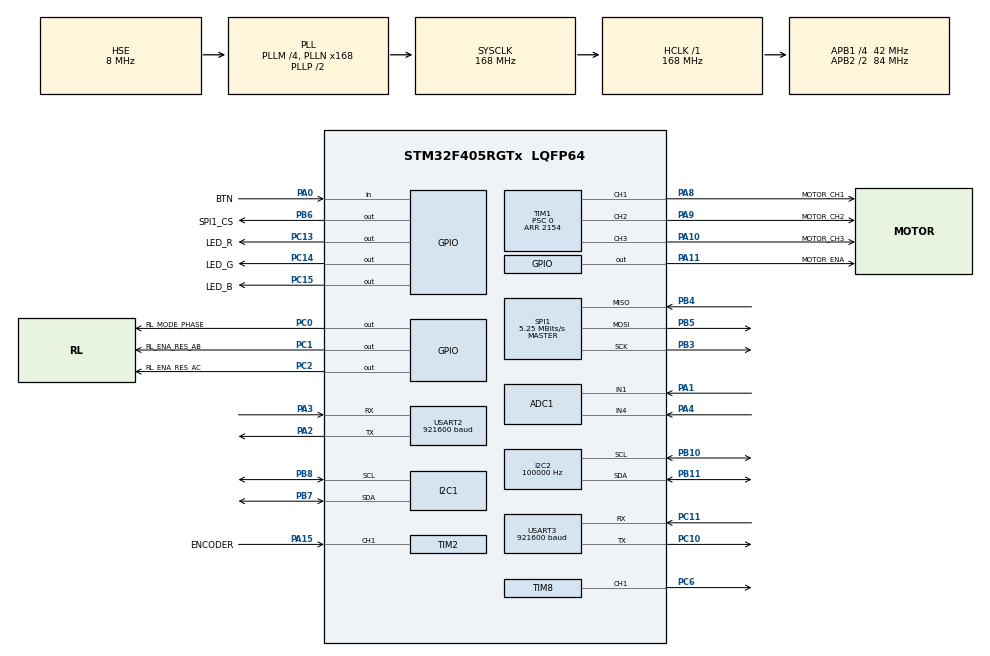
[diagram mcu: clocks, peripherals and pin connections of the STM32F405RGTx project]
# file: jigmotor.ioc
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ADC1.Channel-0\#ChannelRegularConversion=ADC_CHANNEL_1
ADC1.Channel-1\#ChannelRegularConversion=ADC_CHANNEL_4
ADC1.ClockPrescaler=ADC_CLOCK_SYNC_PCLK_DIV4
ADC1.ContinuousConvMode=ENABLE
ADC1.DMAContinuousRequests=ENABLE
ADC1.NbrOfConversion=2
ADC1.NbrOfConversionFlag=1
ADC1.Rank-0\#ChannelRegularConversion=1
ADC1.Rank-1\#ChannelRegularConversion=2
ADC1.SamplingTime-0\#ChannelRegularConversion=ADC_SAMPLETIME_112CYCLES
ADC1.SamplingTime-1\#ChannelRegularConversion=ADC_SAMPLETIME_112CYCLES
ADC1.ScanConvMode=ENABLE
ADC1.master=1
Dma.ADC1.3.Direction=DMA_PERIPH_TO_MEMORY
Dma.ADC1.3.FIFOMode=DMA_FIFOMODE_DISABLE
Dma.ADC1.3.Instance=DMA2_Stream0
Dma.ADC1.3.MemDataAlignment=DMA_MDATAALIGN_HALFWORD
Dma.ADC1.3.MemInc=DMA_MINC_ENABLE
Dma.ADC1.3.Mode=DMA_CIRCULAR
Dma.ADC1.3.PeriphDataAlignment=DMA_PDATAALIGN_HALFWORD
Dma.ADC1.3.PeriphInc=DMA_PINC_DISABLE
Dma.ADC1.3.Priority=DMA_PRIORITY_LOW
Dma.I2C2_TX.0.Direction=DMA_MEMORY_TO_PERIPH
Dma.I2C2_TX.0.FIFOMode=DMA_FIFOMODE_DISABLE
Dma.I2C2_TX.0.Instance=DMA1_Stream7
Dma.I2C2_TX.0.MemDataAlignment=DMA_MDATAALIGN_BYTE
Dma.I2C2_TX.0.MemInc=DMA_MINC_ENABLE
Dma.I2C2_TX.0.Mode=DMA_NORMAL
Dma.I2C2_TX.0.PeriphDataAlignment=DMA_PDATAALIGN_BYTE
Dma.I2C2_TX.0.PeriphInc=DMA_PINC_DISABLE
Dma.I2C2_TX.0.Priority=DMA_PRIORITY_LOW
Dma.Request0=I2C2_TX
Dma.Request1=USART3_TX
Dma.Request2=USART3_RX
Dma.Request3=ADC1
Dma.Request4=USART2_TX
Dma.Request5=USART2_RX
Dma.Request6=SPI1_RX
Dma.Request7=SPI1_TX
Dma.SPI1_RX.6.Direction=DMA_PERIPH_TO_MEMORY
Dma.SPI1_RX.6.FIFOMode=DMA_FIFOMODE_DISABLE
Dma.SPI1_RX.6.Instance=DMA2_Stream2
Dma.SPI1_RX.6.MemDataAlignment=DMA_MDATAALIGN_BYTE
Dma.SPI1_RX.6.MemInc=DMA_MINC_ENABLE
Dma.SPI1_RX.6.Mode=DMA_NORMAL
Dma.SPI1_RX.6.PeriphDataAlignment=DMA_PDATAALIGN_BYTE
Dma.SPI1_RX.6.PeriphInc=DMA_PINC_DISABLE
Dma.SPI1_RX.6.Priority=DMA_PRIORITY_HIGH
Dma.SPI1_TX.7.Direction=DMA_MEMORY_TO_PERIPH
Dma.SPI1_TX.7.FIFOMode=DMA_FIFOMODE_DISABLE
Dma.SPI1_TX.7.Instance=DMA2_Stream3
Dma.SPI1_TX.7.MemDataAlignment=DMA_MDATAALIGN_BYTE
Dma.SPI1_TX.7.MemInc=DMA_MINC_ENABLE
Dma.SPI1_TX.7.Mode=DMA_NORMAL
Dma.SPI1_TX.7.PeriphDataAlignment=DMA_PDATAALIGN_BYTE
Dma.SPI1_TX.7.PeriphInc=DMA_PINC_DISABLE
Dma.SPI1_TX.7.Priority=DMA_PRIORITY_HIGH
Dma.USART2_RX.5.Direction=DMA_PERIPH_TO_MEMORY
Dma.USART2_RX.5.FIFOMode=DMA_FIFOMODE_DISABLE
Dma.USART2_RX.5.Instance=DMA1_Stream5
Dma.USART2_RX.5.MemDataAlignment=DMA_MDATAALIGN_BYTE
Dma.USART2_RX.5.MemInc=DMA_MINC_ENABLE
Dma.USART2_RX.5.Mode=DMA_CIRCULAR
Dma.USART2_RX.5.PeriphDataAlignment=DMA_PDATAALIGN_BYTE
Dma.USART2_RX.5.PeriphInc=DMA_PINC_DISABLE
Dma.USART2_RX.5.Priority=DMA_PRIORITY_LOW
Dma.USART2_TX.4.Direction=DMA_MEMORY_TO_PERIPH
Dma.USART2_TX.4.FIFOMode=DMA_FIFOMODE_DISABLE
Dma.USART2_TX.4.Instance=DMA1_Stream6
Dma.USART2_TX.4.MemDataAlignment=DMA_MDATAALIGN_BYTE
Dma.USART2_TX.4.MemInc=DMA_MINC_ENABLE
Dma.USART2_TX.4.Mode=DMA_NORMAL
Dma.USART2_TX.4.PeriphDataAlignment=DMA_PDATAALIGN_BYTE
Dma.USART2_TX.4.PeriphInc=DMA_PINC_DISABLE
Dma.USART2_TX.4.Priority=DMA_PRIORITY_LOW
Dma.USART3_RX.2.Direction=DMA_PERIPH_TO_MEMORY
Dma.USART3_RX.2.FIFOMode=DMA_FIFOMODE_DISABLE
Dma.USART3_RX.2.Instance=DMA1_Stream1
Dma.USART3_RX.2.MemDataAlignment=DMA_MDATAALIGN_BYTE
Dma.USART3_RX.2.MemInc=DMA_MINC_ENABLE
Dma.USART3_RX.2.Mode=DMA_CIRCULAR
Dma.USART3_RX.2.PeriphDataAlignment=DMA_PDATAALIGN_BYTE
Dma.USART3_RX.2.PeriphInc=DMA_PINC_DISABLE
Dma.USART3_RX.2.Priority=DMA_PRIORITY_LOW
Dma.USART3_TX.1.Direction=DMA_MEMORY_TO_PERIPH
Dma.USART3_TX.1.FIFOMode=DMA_FIFOMODE_DISABLE
Dma.USART3_TX.1.Instance=DMA1_Stream3
Dma.USART3_TX.1.MemDataAlignment=DMA_MDATAALIGN_BYTE
Dma.USART3_TX.1.MemInc=DMA_MINC_ENABLE
Dma.USART3_TX.1.Mode=DMA_NORMAL
Dma.USART3_TX.1.PeriphDataAlignment=DMA_PDATAALIGN_BYTE
Dma.USART3_TX.1.PeriphInc=DMA_PINC_DISABLE
Dma.USART3_TX.1.Priority=DMA_PRIORITY_LOW
FREERTOS.HEAP_NUMBER=4
FREERTOS.Tasks01=defaultTask,24,1024,StartDefaultTask,Default,NULL,Dynamic,NULL,NULL
FREERTOS.configMINIMAL_STACK_SIZE=512
FREERTOS.configTIMER_TASK_STACK_DEPTH=1024
FREERTOS.configTOTAL_HEAP_SIZE=102400
FREERTOS.configUSE_NEWLIB_REENTRANT=1
I2C1.I2C_Mode=I2C_Fast
I2C2.ClockSpeed=100000
I2C2.I2C_Mode=I2C_Standard
Mcu.Family=STM32F4
Mcu.Name=STM32F405RGTx
Mcu.Package=LQFP64
NVIC.ADC_IRQn=true\:5\:0\:false\:false\:true\:true\:true\:true\:true
NVIC.DMA1_Stream1_IRQn=true\:5\:0\:false\:false\:true\:true\:false\:true\:true
NVIC.DMA1_Stream3_IRQn=true\:5\:0\:false\:false\:true\:true\:false\:true\:true
NVIC.DMA1_Stream5_IRQn=true\:5\:0\:false\:false\:true\:true\:false\:true\:true
NVIC.DMA1_Stream6_IRQn=true\:5\:0\:false\:false\:true\:true\:false\:true\:true
NVIC.DMA1_Stream7_IRQn=true\:5\:0\:false\:false\:true\:true\:false\:true\:true
NVIC.DMA2_Stream0_IRQn=true\:5\:0\:false\:false\:true\:true\:false\:true\:true
NVIC.DMA2_Stream2_IRQn=true\:5\:0\:false\:false\:true\:true\:false\:true\:true
NVIC.DMA2_Stream3_IRQn=true\:5\:0\:false\:false\:true\:true\:false\:true\:true
NVIC.I2C2_ER_IRQn=true\:5\:0\:false\:false\:true\:true\:true\:true\:true
NVIC.I2C2_EV_IRQn=true\:5\:0\:false\:false\:true\:true\:true\:true\:true
NVIC.PriorityGroup=NVIC_PRIORITYGROUP_4
NVIC.SPI1_IRQn=true\:5\:0\:false\:false\:true\:true\:true\:true\:true
NVIC.TIM2_IRQn=true\:5\:0\:false\:false\:true\:true\:true\:true\:true
NVIC.TIM8_TRG_COM_TIM14_IRQn=true\:5\:0\:false\:false\:true\:false\:false\:true\:true
NVIC.TimeBase=TIM8_TRG_COM_TIM14_IRQn
NVIC.TimeBaseIP=TIM14
NVIC.USART2_IRQn=true\:5\:0\:false\:false\:true\:true\:true\:true\:true
NVIC.USART3_IRQn=true\:5\:0\:false\:false\:true\:true\:true\:true\:true
PA0-WKUP.GPIO_Label=BTN
PA0-WKUP.GPIO_PuPd=GPIO_PULLUP
PA0-WKUP.Signal=GPIO_Input
PA1.Signal=ADCx_IN1
PA10.GPIO_Label=MOTOR_CH3
PA10.Signal=S_TIM1_CH3
PA11.GPIO_Label=MOTOR_ENA
PA11.Signal=GPIO_Output
PA13.Mode=Serial_Wire
PA13.Signal=SYS_JTMS-SWDIO
PA14.Mode=Serial_Wire
PA14.Signal=SYS_JTCK-SWCLK
PA15.GPIO_Label=ENCODER
PA15.GPIO_PuPd=GPIO_PULLUP
PA15.Signal=S_TIM2_CH1_ETR
PA2.Mode=Asynchronous
PA2.Signal=USART2_TX
PA3.Mode=Asynchronous
PA3.Signal=USART2_RX
PA4.Signal=ADCx_IN4
PA8.GPIO_Label=MOTOR_CH1
PA8.Signal=S_TIM1_CH1
PA9.GPIO_Label=MOTOR_CH2
PA9.Signal=S_TIM1_CH2
PB10.GPIO_Pu=GPIO_PULLUP
PB10.GPIO_Speed=GPIO_SPEED_FREQ_LOW
PB10.Mode=I2C
PB10.Signal=I2C2_SCL
PB11.GPIO_Pu=GPIO_PULLUP
PB11.GPIO_Speed=GPIO_SPEED_FREQ_LOW
PB11.Mode=I2C
PB11.Signal=I2C2_SDA
PB3.GPIO_PuPd=GPIO_PULLUP
PB3.Mode=Full_Duplex_Master
PB3.Signal=SPI1_SCK
PB4.GPIO_PuPd=GPIO_PULLUP
PB4.Mode=Full_Duplex_Master
PB4.Signal=SPI1_MISO
PB5.GPIO_PuPd=GPIO_PULLUP
PB5.Mode=Full_Duplex_Master
PB5.Signal=SPI1_MOSI
PB6.GPIO_Label=SPI1_CS
PB6.Signal=GPIO_Output
PB7.Mode=I2C
PB7.Signal=I2C1_SDA
PB8.Mode=I2C
PB8.Signal=I2C1_SCL
PC0.GPIO_Label=RL_MODE_PHASE
PC0.PinState=GPIO_PIN_RESET
PC0.Signal=GPIO_Output
PC1.GPIO_Label=RL_ENA_RES_AB
PC1.Signal=GPIO_Output
PC10.Mode=Asynchronous
PC10.Signal=USART3_TX
PC11.Mode=Asynchronous
PC11.Signal=USART3_RX
PC13-ANTI_TAMP.GPIO_Label=LED_R
PC13-ANTI_TAMP.PinState=GPIO_PIN_RESET
PC13-ANTI_TAMP.Signal=GPIO_Output
PC14-OSC32_IN.GPIO_Label=LED_G
PC14-OSC32_IN.PinState=GPIO_PIN_RESET
PC14-OSC32_IN.Signal=GPIO_Output
PC15-OSC32_OUT.GPIO_Label=LED_B
PC15-OSC32_OUT.PinState=GPIO_PIN_RESET
PC15-OSC32_OUT.Signal=GPIO_Output
PC2.GPIO_Label=RL_ENA_RES_AC
PC2.Signal=GPIO_Output
PC6.Signal=S_TIM8_CH1
PH0-OSC_IN.Mode=HSE-External-Oscillator
PH0-OSC_IN.Signal=RCC_OSC_IN
PH1-OSC_OUT.Mode=HSE-External-Oscillator
PH1-OSC_OUT.Signal=RCC_OSC_OUT
ProjectManager.HeapSize=0x200
ProjectManager.StackSize=0x400
ProjectManager.TargetToolchain=STM32CubeIDE
RCC.48MHZClocksFreq_Value=84000000
RCC.AHBFreq_Value=168000000
RCC.APB1CLKDivider=RCC_HCLK_DIV4
RCC.APB1Freq_Value=42000000
RCC.APB1TimFreq_Value=84000000
RCC.APB2CLKDivider=RCC_HCLK_DIV2
RCC.APB2Freq_Value=84000000
RCC.APB2TimFreq_Value=168000000
RCC.CortexFreq_Value=168000000
RCC.HCLKFreq_Value=168000000
RCC.HSE_VALUE=8000000
RCC.HSI_VALUE=16000000
RCC.LSE_VALUE=32768
RCC.PLLM=4
RCC.PLLN=168
RCC.PLLSourceVirtual=RCC_PLLSOURCE_HSE
RCC.SYSCLKFreq_VALUE=168000000
RCC.SYSCLKSource=RCC_SYSCLKSOURCE_PLLCLK
RCC.VCOOutputFreq_Value=336000000
SH.ADCx_IN1.0=ADC1_IN1,IN1
SH.ADCx_IN4.0=ADC1_IN4,IN4
SH.S_TIM1_CH1.0=TIM1_CH1,PWM Generation1 CH1
SH.S_TIM1_CH2.0=TIM1_CH2,PWM Generation2 CH2
SH.S_TIM1_CH3.0=TIM1_CH3,PWM Generation3 CH3
SH.S_TIM2_CH1_ETR.0=TIM2_CH1,Input_Capture1_from_TI1
SH.S_TIM8_CH1.0=TIM8_CH1,PWM Generation1 CH1
SPI1.BaudRatePrescaler=SPI_BAUDRATEPRESCALER_16
SPI1.CLKPhase=SPI_PHASE_2EDGE
SPI1.CLKPolarity=SPI_POLARITY_HIGH
SPI1.CalculateBaudRate=5.25 MBits/s
SPI1.Direction=SPI_DIRECTION_2LINES
SPI1.Mode=SPI_MODE_MASTER
SPI1.VirtualType=VM_MASTER
TIM1.Channel-PWM\ Generation1\ CH1=TIM_CHANNEL_1
TIM1.Channel-PWM\ Generation2\ CH2=TIM_CHANNEL_2
TIM1.Channel-PWM\ Generation3\ CH3=TIM_CHANNEL_3
TIM1.OCMode_PWM-PWM\ Generation1\ CH1=TIM_OCMODE_PWM2
TIM1.OCMode_PWM-PWM\ Generation2\ CH2=TIM_OCMODE_PWM2
TIM1.OCMode_PWM-PWM\ Generation3\ CH3=TIM_OCMODE_PWM2
TIM1.Period=2154
TIM1.Prescaler=0
TIM2.Channel-Input_Capture1_from_TI1=TIM_CHANNEL_1
TIM2.Channel-Input_Capture2_from_TI1_63=TIM_CHANNEL_2
TIM2.ICFilter_CH1=0
TIM2.ICPolarity_CH1=TIM_INPUTCHANNELPOLARITY_RISING
TIM2.ICPolarity_CH2=TIM_INPUTCHANNELPOLARITY_FALLING
TIM2.Period=0xFFFFFFFF
TIM8.Channel-PWM\ Generation1\ CH1=TIM_CHANNEL_1
TIM8.Period=999
TIM8.Prescaler=83
USART2.BaudRate=921600
USART2.VirtualMode=VM_ASYNC
USART3.BaudRate=921600
USART3.VirtualMode=VM_ASYNC
VP_FREERTOS_VS_CMSIS_V2.Mode=CMSIS_V2
VP_SYS_VS_tim14.Mode=TIM14
VP_TIM1_VS_ClockSourceINT.Mode=Internal
VP_TIM2_VS_ClockSourceINT.Mode=Internal
VP_TIM2_VS_indirect_ch1.Mode=Input_Capture2_from_TI1_63
board=custom

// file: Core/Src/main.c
/* USER CODE BEGIN Header */
/**
  ******************************************************************************
  * @file           : main.c
  * @brief          : Main program body
  ******************************************************************************
  * @attention
  *
  * Copyright (c) 2026 STMicroelectronics.
  * All rights reserved.
  *
  * This software is licensed under terms that can be found in the LICENSE file
  * in the root directory of this software component.
  * If no LICENSE file comes with this software, it is provided AS-IS.
  *
  ******************************************************************************
  */
/* USER CODE END Header */
#include "main.h"
#include "cmsis_os.h"

/* USER CODE BEGIN Includes */
#include "ma600.h"
#include "ma600_acquisition.h"
#include "motor.h"
#include "motor_config.h"
#include "test_profile.h"
#include "app_engine.h"
#include <stdio.h>
#include <math.h>
/* USER CODE END Includes */

ADC_HandleTypeDef hadc1;
DMA_HandleTypeDef hdma_adc1;

I2C_HandleTypeDef hi2c1;
I2C_HandleTypeDef hi2c2;
DMA_HandleTypeDef hdma_i2c2_tx;

SPI_HandleTypeDef hspi1;
DMA_HandleTypeDef hdma_spi1_rx;
DMA_HandleTypeDef hdma_spi1_tx;

TIM_HandleTypeDef htim1;
TIM_HandleTypeDef htim2;
TIM_HandleTypeDef htim8;

UART_HandleTypeDef huart2;
UART_HandleTypeDef huart3;
DMA_HandleTypeDef hdma_usart2_tx;
DMA_HandleTypeDef hdma_usart2_rx;
DMA_HandleTypeDef hdma_usart3_tx;
DMA_HandleTypeDef hdma_usart3_rx;

/* Definitions for defaultTask */
osThreadId_t defaultTaskHandle;
const osThreadAttr_t defaultTask_attributes = {
  .name = "defaultTask",
  .stack_size = 1024 * 4,
  .priority = (osPriority_t) osPriorityNormal,
};

void SystemClock_Config(void);
static void MX_GPIO_Init(void);
static void MX_DMA_Init(void);
static void MX_ADC1_Init(void);
static void MX_TIM1_Init(void);
static void MX_TIM2_Init(void);
static void MX_I2C2_Init(void);
static void MX_USART3_UART_Init(void);
static void MX_I2C1_Init(void);
static void MX_SPI1_Init(void);
static void MX_TIM8_Init(void);
static void MX_USART2_UART_Init(void);
void StartDefaultTask(void *argument);

int main(void)
{

  /* MCU Configuration--------------------------------------------------------*/

  /* Reset of all peripherals, Initializes the Flash interface and the Systick. */
  HAL_Init();

  /* Configure the system clock */
  SystemClock_Config();

  /* Initialize all configured peripherals */
  MX_GPIO_Init();
  MX_DMA_Init();
  MX_ADC1_Init();
  MX_TIM1_Init();
  MX_TIM2_Init();
  MX_I2C2_Init();
  MX_USART3_UART_Init();
  MX_I2C1_Init();
  MX_SPI1_Init();
  MX_TIM8_Init();
  MX_USART2_UART_Init();
  /* USER CODE BEGIN 2 */
  MA600_Init();
  if (!MA600_ConfigurationGateSelfTest())
  {
    Error_Handler();
  }
  if (!MA600_PointSamplerSelfTest())
  {
    Error_Handler();
  }
  Motor_Init();
  if (!Motor_RunControllerSelfTest())
  {
    Error_Handler();
  }
  /* USER CODE END 2 */

  /* Init scheduler */
  osKernelInitialize();

  /* Create the thread(s) */
  /* creation of defaultTask */
  defaultTaskHandle = osThreadNew(StartDefaultTask, NULL, &defaultTask_attributes);

  /* USER CODE BEGIN RTOS_THREADS */
  if (!AppEngine_Init())
  {
    Error_Handler();
  }
  /* USER CODE END RTOS_THREADS */

  /* Start scheduler */
  osKernelStart();
  /* We should never get here as control is now taken by the scheduler */
  /* Infinite loop */
  while (1)
  {

  }
}

void SystemClock_Config(void)
{
  RCC_OscInitTypeDef RCC_OscInitStruct = {0};
  RCC_ClkInitTypeDef RCC_ClkInitStruct = {0};

  /** Configure the main internal regulator output voltage
  */
  __HAL_RCC_PWR_CLK_ENABLE();
  __HAL_PWR_VOLTAGESCALING_CONFIG(PWR_REGULATOR_VOLTAGE_SCALE1);

  /** Initializes the RCC Oscillators according to the specified parameters
  * in the RCC_OscInitTypeDef structure.
  */
  RCC_OscInitStruct.OscillatorType = RCC_OSCILLATORTYPE_HSE;
  RCC_OscInitStruct.HSEState = RCC_HSE_ON;
  RCC_OscInitStruct.PLL.PLLState = RCC_PLL_ON;
  RCC_OscInitStruct.PLL.PLLSource = RCC_PLLSOURCE_HSE;
  RCC_OscInitStruct.PLL.PLLM = 4;
  RCC_OscInitStruct.PLL.PLLN = 168;
  RCC_OscInitStruct.PLL.PLLP = RCC_PLLP_DIV2;
  RCC_OscInitStruct.PLL.PLLQ = 4;
  if (HAL_RCC_OscConfig(&RCC_OscInitStruct) != HAL_OK)
  {
    Error_Handler();
  }

  /** Initializes the CPU, AHB and APB buses clocks
  */
  RCC_ClkInitStruct.ClockType = RCC_CLOCKTYPE_HCLK|RCC_CLOCKTYPE_SYSCLK
                              |RCC_CLOCKTYPE_PCLK1|RCC_CLOCKTYPE_PCLK2;
  RCC_ClkInitStruct.SYSCLKSource = RCC_SYSCLKSOURCE_PLLCLK;
  RCC_ClkInitStruct.AHBCLKDivider = RCC_SYSCLK_DIV1;
  RCC_ClkInitStruct.APB1CLKDivider = RCC_HCLK_DIV4;
  RCC_ClkInitStruct.APB2CLKDivider = RCC_HCLK_DIV2;

  if (HAL_RCC_ClockConfig(&RCC_ClkInitStruct, FLASH_LATENCY_5) != HAL_OK)
  {
    Error_Handler();
  }
}

static void MX_ADC1_Init(void)
{

  ADC_ChannelConfTypeDef sConfig = {0};

  /** Configure the global features of the ADC (Clock, Resolution, Data Alignment and number of conversion)
  */
  hadc1.Instance = ADC1;
  hadc1.Init.ClockPrescaler = ADC_CLOCK_SYNC_PCLK_DIV4;
  hadc1.Init.Resolution = ADC_RESOLUTION_12B;
  hadc1.Init.ScanConvMode = ENABLE;
  hadc1.Init.ContinuousConvMode = ENABLE;
  hadc1.Init.DiscontinuousConvMode = DISABLE;
  hadc1.Init.ExternalTrigConvEdge = ADC_EXTERNALTRIGCONVEDGE_NONE;
  hadc1.Init.ExternalTrigConv = ADC_SOFTWARE_START;
  hadc1.Init.DataAlign = ADC_DATAALIGN_RIGHT;
  hadc1.Init.NbrOfConversion = 2;
  hadc1.Init.DMAContinuousRequests = ENABLE;
  hadc1.Init.EOCSelection = ADC_EOC_SINGLE_CONV;
  if (HAL_ADC_Init(&hadc1) != HAL_OK)
  {
    Error_Handler();
  }

  /** Configure for the selected ADC regular channel its corresponding rank in the sequencer and its sample time.
  */
  sConfig.Channel = ADC_CHANNEL_1;
  sConfig.Rank = 1;
  sConfig.SamplingTime = ADC_SAMPLETIME_112CYCLES;
  if (HAL_ADC_ConfigChannel(&hadc1, &sConfig) != HAL_OK)
  {
    Error_Handler();
  }

  /** Configure for the selected ADC regular channel its corresponding rank in the sequencer and its sample time.
  */
  sConfig.Channel = ADC_CHANNEL_4;
  sConfig.Rank = 2;
  if (HAL_ADC_ConfigChannel(&hadc1, &sConfig) != HAL_OK)
  {
    Error_Handler();
  }

}

static void MX_I2C1_Init(void)
{

  hi2c1.Instance = I2C1;
  hi2c1.Init.ClockSpeed = 400000;
  hi2c1.Init.DutyCycle = I2C_DUTYCYCLE_2;
  hi2c1.Init.OwnAddress1 = 0;
  hi2c1.Init.AddressingMode = I2C_ADDRESSINGMODE_7BIT;
  hi2c1.Init.DualAddressMode = I2C_DUALADDRESS_DISABLE;
  hi2c1.Init.OwnAddress2 = 0;
  hi2c1.Init.GeneralCallMode = I2C_GENERALCALL_DISABLE;
  hi2c1.Init.NoStretchMode = I2C_NOSTRETCH_DISABLE;
  if (HAL_I2C_Init(&hi2c1) != HAL_OK)
  {
    Error_Handler();
  }

}

static void MX_I2C2_Init(void)
{

  hi2c2.Instance = I2C2;
  hi2c2.Init.ClockSpeed = 100000;
  hi2c2.Init.DutyCycle = I2C_DUTYCYCLE_2;
  hi2c2.Init.OwnAddress1 = 0;
  hi2c2.Init.AddressingMode = I2C_ADDRESSINGMODE_7BIT;
  hi2c2.Init.DualAddressMode = I2C_DUALADDRESS_DISABLE;
  hi2c2.Init.OwnAddress2 = 0;
  hi2c2.Init.GeneralCallMode = I2C_GENERALCALL_DISABLE;
  hi2c2.Init.NoStretchMode = I2C_NOSTRETCH_DISABLE;
  if (HAL_I2C_Init(&hi2c2) != HAL_OK)
  {
    Error_Handler();
  }

}

static void MX_SPI1_Init(void)
{

  /* SPI1 parameter configuration*/
  hspi1.Instance = SPI1;
  hspi1.Init.Mode = SPI_MODE_MASTER;
  hspi1.Init.Direction = SPI_DIRECTION_2LINES;
  hspi1.Init.DataSize = SPI_DATASIZE_8BIT;
  hspi1.Init.CLKPolarity = SPI_POLARITY_HIGH;
  hspi1.Init.CLKPhase = SPI_PHASE_2EDGE;
  hspi1.Init.NSS = SPI_NSS_SOFT;
  hspi1.Init.BaudRatePrescaler = SPI_BAUDRATEPRESCALER_16;
  hspi1.Init.FirstBit = SPI_FIRSTBIT_MSB;
  hspi1.Init.TIMode = SPI_TIMODE_DISABLE;
  hspi1.Init.CRCCalculation = SPI_CRCCALCULATION_DISABLE;
  hspi1.Init.CRCPolynomial = 10;
  if (HAL_SPI_Init(&hspi1) != HAL_OK)
  {
    Error_Handler();
  }

}

static void MX_TIM1_Init(void)
{

  TIM_ClockConfigTypeDef sClockSourceConfig = {0};
  TIM_MasterConfigTypeDef sMasterConfig = {0};
  TIM_OC_InitTypeDef sConfigOC = {0};
  TIM_BreakDeadTimeConfigTypeDef sBreakDeadTimeConfig = {0};

  htim1.Instance = TIM1;
  htim1.Init.Prescaler = 0;
  htim1.Init.CounterMode = TIM_COUNTERMODE_UP;
  htim1.Init.Period = 2154;
  htim1.Init.ClockDivision = TIM_CLOCKDIVISION_DIV1;
  htim1.Init.RepetitionCounter = 0;
  htim1.Init.AutoReloadPreload = TIM_AUTORELOAD_PRELOAD_DISABLE;
  if (HAL_TIM_Base_Init(&htim1) != HAL_OK)
  {
    Error_Handler();
  }
  sClockSourceConfig.ClockSource = TIM_CLOCKSOURCE_INTERNAL;
  if (HAL_TIM_ConfigClockSource(&htim1, &sClockSourceConfig) != HAL_OK)
  {
    Error_Handler();
  }
  if (HAL_TIM_PWM_Init(&htim1) != HAL_OK)
  {
    Error_Handler();
  }
  sMasterConfig.MasterOutputTrigger = TIM_TRGO_RESET;
  sMasterConfig.MasterSlaveMode = TIM_MASTERSLAVEMODE_DISABLE;
  if (HAL_TIMEx_MasterConfigSynchronization(&htim1, &sMasterConfig) != HAL_OK)
  {
    Error_Handler();
  }
  sConfigOC.OCMode = TIM_OCMODE_PWM2;
  sConfigOC.Pulse = 0;
  sConfigOC.OCPolarity = TIM_OCPOLARITY_HIGH;
  sConfigOC.OCNPolarity = TIM_OCNPOLARITY_HIGH;
  sConfigOC.OCFastMode = TIM_OCFAST_DISABLE;
  sConfigOC.OCIdleState = TIM_OCIDLESTATE_RESET;
  sConfigOC.OCNIdleState = TIM_OCNIDLESTATE_RESET;
  if (HAL_TIM_PWM_ConfigChannel(&htim1, &sConfigOC, TIM_CHANNEL_1) != HAL_OK)
  {
    Error_Handler();
  }
  if (HAL_TIM_PWM_ConfigChannel(&htim1, &sConfigOC, TIM_CHANNEL_2) != HAL_OK)
  {
    Error_Handler();
  }
  if (HAL_TIM_PWM_ConfigChannel(&htim1, &sConfigOC, TIM_CHANNEL_3) != HAL_OK)
  {
    Error_Handler();
  }
  sBreakDeadTimeConfig.OffStateRunMode = TIM_OSSR_DISABLE;
  sBreakDeadTimeConfig.OffStateIDLEMode = TIM_OSSI_DISABLE;
  sBreakDeadTimeConfig.LockLevel = TIM_LOCKLEVEL_OFF;
  sBreakDeadTimeConfig.DeadTime = 0;
  sBreakDeadTimeConfig.BreakState = TIM_BREAK_DISABLE;
  sBreakDeadTimeConfig.BreakPolarity = TIM_BREAKPOLARITY_HIGH;
  sBreakDeadTimeConfig.AutomaticOutput = TIM_AUTOMATICOUTPUT_DISABLE;
  if (HAL_TIMEx_ConfigBreakDeadTime(&htim1, &sBreakDeadTimeConfig) != HAL_OK)
  {
    Error_Handler();
  }
  HAL_TIM_MspPostInit(&htim1);

}

static void MX_TIM2_Init(void)
{

  TIM_ClockConfigTypeDef sClockSourceConfig = {0};
  TIM_MasterConfigTypeDef sMasterConfig = {0};
  TIM_IC_InitTypeDef sConfigIC = {0};

  htim2.Instance = TIM2;
  htim2.Init.Prescaler = 0;
  htim2.Init.CounterMode = TIM_COUNTERMODE_UP;
  htim2.Init.Period = 0xFFFFFFFF;
  htim2.Init.ClockDivision = TIM_CLOCKDIVISION_DIV1;
  htim2.Init.AutoReloadPreload = TIM_AUTORELOAD_PRELOAD_DISABLE;
  if (HAL_TIM_Base_Init(&htim2) != HAL_OK)
  {
    Error_Handler();
  }
  sClockSourceConfig.ClockSource = TIM_CLOCKSOURCE_INTERNAL;
  if (HAL_TIM_ConfigClockSource(&htim2, &sClockSourceConfig) != HAL_OK)
  {
    Error_Handler();
  }
  if (HAL_TIM_IC_Init(&htim2) != HAL_OK)
  {
    Error_Handler();
  }
  sMasterConfig.MasterOutputTrigger = TIM_TRGO_RESET;
  sMasterConfig.MasterSlaveMode = TIM_MASTERSLAVEMODE_DISABLE;
  if (HAL_TIMEx_MasterConfigSynchronization(&htim2, &sMasterConfig) != HAL_OK)
  {
    Error_Handler();
  }
  sConfigIC.ICPolarity = TIM_INPUTCHANNELPOLARITY_RISING;
  sConfigIC.ICSelection = TIM_ICSELECTION_DIRECTTI;
  sConfigIC.ICPrescaler = TIM_ICPSC_DIV1;
  sConfigIC.ICFilter = 0;
  if (HAL_TIM_IC_ConfigChannel(&htim2, &sConfigIC, TIM_CHANNEL_1) != HAL_OK)
  {
    Error_Handler();
  }
  sConfigIC.ICPolarity = TIM_INPUTCHANNELPOLARITY_FALLING;
  sConfigIC.ICSelection = TIM_ICSELECTION_INDIRECTTI;
  if (HAL_TIM_IC_ConfigChannel(&htim2, &sConfigIC, TIM_CHANNEL_2) != HAL_OK)
  {
    Error_Handler();
  }

}

static void MX_TIM8_Init(void)
{

  TIM_MasterConfigTypeDef sMasterConfig = {0};
  TIM_OC_InitTypeDef sConfigOC = {0};
  TIM_BreakDeadTimeConfigTypeDef sBreakDeadTimeConfig = {0};

  htim8.Instance = TIM8;
  htim8.Init.Prescaler = 83;
  htim8.Init.CounterMode = TIM_COUNTERMODE_UP;
  htim8.Init.Period = 999;
  htim8.Init.ClockDivision = TIM_CLOCKDIVISION_DIV1;
  htim8.Init.RepetitionCounter = 0;
  htim8.Init.AutoReloadPreload = TIM_AUTORELOAD_PRELOAD_DISABLE;
  if (HAL_TIM_PWM_Init(&htim8) != HAL_OK)
  {
    Error_Handler();
  }
  sMasterConfig.MasterOutputTrigger = TIM_TRGO_RESET;
  sMasterConfig.MasterSlaveMode = TIM_MASTERSLAVEMODE_DISABLE;
  if (HAL_TIMEx_MasterConfigSynchronization(&htim8, &sMasterConfig) != HAL_OK)
  {
    Error_Handler();
  }
  sConfigOC.OCMode = TIM_OCMODE_PWM1;
  sConfigOC.Pulse = 0;
  sConfigOC.OCPolarity = TIM_OCPOLARITY_HIGH;
  sConfigOC.OCNPolarity = TIM_OCNPOLARITY_HIGH;
  sConfigOC.OCFastMode = TIM_OCFAST_DISABLE;
  sConfigOC.OCIdleState = TIM_OCIDLESTATE_RESET;
  sConfigOC.OCNIdleState = TIM_OCNIDLESTATE_RESET;
  if (HAL_TIM_PWM_ConfigChannel(&htim8, &sConfigOC, TIM_CHANNEL_1) != HAL_OK)
  {
    Error_Handler();
  }
  sBreakDeadTimeConfig.OffStateRunMode = TIM_OSSR_DISABLE;
  sBreakDeadTimeConfig.OffStateIDLEMode = TIM_OSSI_DISABLE;
  sBreakDeadTimeConfig.LockLevel = TIM_LOCKLEVEL_OFF;
  sBreakDeadTimeConfig.DeadTime = 0;
  sBreakDeadTimeConfig.BreakState = TIM_BREAK_DISABLE;
  sBreakDeadTimeConfig.BreakPolarity = TIM_BREAKPOLARITY_HIGH;
  sBreakDeadTimeConfig.AutomaticOutput = TIM_AUTOMATICOUTPUT_DISABLE;
  if (HAL_TIMEx_ConfigBreakDeadTime(&htim8, &sBreakDeadTimeConfig) != HAL_OK)
  {
    Error_Handler();
  }
  HAL_TIM_MspPostInit(&htim8);

}

static void MX_USART2_UART_Init(void)
{

  huart2.Instance = USART2;
  huart2.Init.BaudRate = 921600;
  huart2.Init.WordLength = UART_WORDLENGTH_8B;
  huart2.Init.StopBits = UART_STOPBITS_1;
  huart2.Init.Parity = UART_PARITY_NONE;
  huart2.Init.Mode = UART_MODE_TX_RX;
  huart2.Init.HwFlowCtl = UART_HWCONTROL_NONE;
  huart2.Init.OverSampling = UART_OVERSAMPLING_16;
  if (HAL_UART_Init(&huart2) != HAL_OK)
  {
    Error_Handler();
  }

}

static void MX_USART3_UART_Init(void)
{

  huart3.Instance = USART3;
  huart3.Init.BaudRate = 921600;
  huart3.Init.WordLength = UART_WORDLENGTH_8B;
  huart3.Init.StopBits = UART_STOPBITS_1;
  huart3.Init.Parity = UART_PARITY_NONE;
  huart3.Init.Mode = UART_MODE_TX_RX;
  huart3.Init.HwFlowCtl = UART_HWCONTROL_NONE;
  huart3.Init.OverSampling = UART_OVERSAMPLING_16;
  if (HAL_UART_Init(&huart3) != HAL_OK)
  {
    Error_Handler();
  }

}

static void MX_DMA_Init(void)
{

  /* DMA controller clock enable */
  __HAL_RCC_DMA1_CLK_ENABLE();
  __HAL_RCC_DMA2_CLK_ENABLE();

  /* DMA interrupt init */
  /* DMA1_Stream1_IRQn interrupt configuration */
  HAL_NVIC_SetPriority(DMA1_Stream1_IRQn, 5, 0);
  HAL_NVIC_EnableIRQ(DMA1_Stream1_IRQn);
  /* DMA1_Stream3_IRQn interrupt configuration */
  HAL_NVIC_SetPriority(DMA1_Stream3_IRQn, 5, 0);
  HAL_NVIC_EnableIRQ(DMA1_Stream3_IRQn);
  /* DMA1_Stream5_IRQn interrupt configuration */
  HAL_NVIC_SetPriority(DMA1_Stream5_IRQn, 5, 0);
  HAL_NVIC_EnableIRQ(DMA1_Stream5_IRQn);
  /* DMA1_Stream6_IRQn interrupt configuration */
  HAL_NVIC_SetPriority(DMA1_Stream6_IRQn, 5, 0);
  HAL_NVIC_EnableIRQ(DMA1_Stream6_IRQn);
  /* DMA1_Stream7_IRQn interrupt configuration */
  HAL_NVIC_SetPriority(DMA1_Stream7_IRQn, 5, 0);
  HAL_NVIC_EnableIRQ(DMA1_Stream7_IRQn);
  /* DMA2_Stream0_IRQn interrupt configuration */
  HAL_NVIC_SetPriority(DMA2_Stream0_IRQn, 5, 0);
  HAL_NVIC_EnableIRQ(DMA2_Stream0_IRQn);
  /* DMA2_Stream2_IRQn interrupt configuration */
  HAL_NVIC_SetPriority(DMA2_Stream2_IRQn, 5, 0);
  HAL_NVIC_EnableIRQ(DMA2_Stream2_IRQn);
  /* DMA2_Stream3_IRQn interrupt configuration */
  HAL_NVIC_SetPriority(DMA2_Stream3_IRQn, 5, 0);
  HAL_NVIC_EnableIRQ(DMA2_Stream3_IRQn);

}

static void MX_GPIO_Init(void)
{
  GPIO_InitTypeDef GPIO_InitStruct = {0};

  /* GPIO Ports Clock Enable */
  __HAL_RCC_GPIOC_CLK_ENABLE();
  __HAL_RCC_GPIOH_CLK_ENABLE();
  __HAL_RCC_GPIOA_CLK_ENABLE();
  __HAL_RCC_GPIOB_CLK_ENABLE();

  /*Configure GPIO pin Output Level */
  HAL_GPIO_WritePin(GPIOC, LED_R_Pin|LED_G_Pin|LED_B_Pin|RL_MODE_PHASE_Pin
                          |RL_ENA_RES_AB_Pin|RL_ENA_RES_AC_Pin, GPIO_PIN_RESET);

  /*Configure GPIO pin Output Level */
  HAL_GPIO_WritePin(MOTOR_ENA_GPIO_Port, MOTOR_ENA_Pin, GPIO_PIN_RESET);

  /*Configure GPIO pin Output Level */
  HAL_GPIO_WritePin(SPI1_CS_GPIO_Port, SPI1_CS_Pin, GPIO_PIN_RESET);

  /*Configure GPIO pins : LED_R_Pin LED_G_Pin LED_B_Pin RL_MODE_PHASE_Pin
                           RL_ENA_RES_AB_Pin RL_ENA_RES_AC_Pin */
  GPIO_InitStruct.Pin = LED_R_Pin|LED_G_Pin|LED_B_Pin|RL_MODE_PHASE_Pin
                          |RL_ENA_RES_AB_Pin|RL_ENA_RES_AC_Pin;
  GPIO_InitStruct.Mode = GPIO_MODE_OUTPUT_PP;
  GPIO_InitStruct.Pull = GPIO_NOPULL;
  GPIO_InitStruct.Speed = GPIO_SPEED_FREQ_LOW;
  HAL_GPIO_Init(GPIOC, &GPIO_InitStruct);

  /*Configure GPIO pin : BTN_Pin */
  GPIO_InitStruct.Pin = BTN_Pin;
  GPIO_InitStruct.Mode = GPIO_MODE_INPUT;
  GPIO_InitStruct.Pull = GPIO_PULLUP;
  HAL_GPIO_Init(BTN_GPIO_Port, &GPIO_InitStruct);

  /*Configure GPIO pin : MOTOR_ENA_Pin */
  GPIO_InitStruct.Pin = MOTOR_ENA_Pin;
  GPIO_InitStruct.Mode = GPIO_MODE_OUTPUT_PP;
  GPIO_InitStruct.Pull = GPIO_NOPULL;
  GPIO_InitStruct.Speed = GPIO_SPEED_FREQ_LOW;
  HAL_GPIO_Init(MOTOR_ENA_GPIO_Port, &GPIO_InitStruct);

  /*Configure GPIO pin : SPI1_CS_Pin */
  GPIO_InitStruct.Pin = SPI1_CS_Pin;
  GPIO_InitStruct.Mode = GPIO_MODE_OUTPUT_PP;
  GPIO_InitStruct.Pull = GPIO_NOPULL;
  GPIO_InitStruct.Speed = GPIO_SPEED_FREQ_LOW;
  HAL_GPIO_Init(SPI1_CS_GPIO_Port, &GPIO_InitStruct);

}

void StartDefaultTask(void *argument)
{
  /* USER CODE BEGIN 5 */
  MA600_AcquisitionContext_t idleAcquisition;
  MA600_AcquisitionInit(&idleAcquisition);

  /* Motor is disabled here. Emit the transport identity once so a captured
   * hardware log proves whether the flashed image is polling or DMA. */
  char transportLine[96];
  int transportLen = snprintf(transportLine, sizeof(transportLine),
      "MA600 angle transport=%s\r\n", MA600_AngleTransportName());
  if (transportLen >= (int)sizeof(transportLine))
  {
    transportLen = (int)sizeof(transportLine) - 1;
  }
  HAL_UART_Transmit(&huart3, (uint8_t *)transportLine,
      (uint16_t)transportLen, 50);

  char manifestLine[768];
  int manifestLen = snprintf(manifestLine, sizeof(manifestLine),
      "BUILD_MANIFEST,AppMode=%s,AppProfile=%s,MCU=STM32F405RGTx,"
      "SourceId=%s,ProfileFingerprint=0x%08lX,SystemClockHz=%lu,Transport=%s,"
      "BuildLabel=%s,ResultClass=%s,MotorPoleCount=%u,MotorPolePairs=%u,"
      "ElectricalCycleRaw=%u,ElectricalRippleOrder=%u,Approach=%s,Motion=%s,"
      "SensorIdentity=%s,ExpectedSensorReg1F=%s,"
      "AutoBatch=%u,RunsPerButton=%u\r\n",
      AppEngine_ModeId(), AppEngine_ProfileId(), AppEngine_SourceId(),
      AppEngine_ProfileFingerprint(),
      (unsigned long)SystemCoreClock, MA600_AngleTransportName(),
      TEST_BUILD_LABEL, TEST_RESULT_CLASS, (unsigned)MOTOR_NUM_POLSE,
      (unsigned)MOTOR_POLE_PAIRS,
      (unsigned)MOTOR_COUNT_PER_ELECTRICAL_CYCLE,
      (unsigned)MOTOR_ELECTRICAL_RIPPLE_ORDER, TEST_APPROACH_PROTOCOL,
      TEST_MOTION_PROFILE, TEST_SENSOR_IDENTITY,
      TEST_SENSOR_REG_1F_POLICY,
      (unsigned)ENABLE_AUTO_BATCH_TEST,
      (unsigned)TEST_RUNS_PER_BUTTON);
  if (manifestLen >= (int)sizeof(manifestLine))
  {
    manifestLen = (int)sizeof(manifestLine) - 1;
  }
  HAL_UART_Transmit(&huart3, (uint8_t *)manifestLine,
      (uint16_t)manifestLen, 50);

  /* Infinite loop */
  for(;;)
  {
    /* BTN_Pin is pull-up, active low. The 200ms loop period below is a
     * generous debounce margin on its own (far longer than any mechanical
     * switch bounce), so a plain edge check here is enough -- no extra
     * debounce logic needed. */
    static bool btnWasPressed = false;
    bool btnPressed = (HAL_GPIO_ReadPin(BTN_GPIO_Port, BTN_Pin) == GPIO_PIN_RESET);
    if (btnPressed && !btnWasPressed)
    {
        AppEngine_RequestStart();
    }
    btnWasPressed = btnPressed;

    /* Heartbeat: proves the scheduler/task is actually looping, independent
     * of whether SPI/UART are wired up or answering. If this LED is not
     * blinking, execution never got here (stuck earlier -- see Error_Handler,
     * which blinks LED_R instead). */
    HAL_GPIO_TogglePin(LED_G_GPIO_Port, LED_G_Pin);

    /* TestTask has exclusive ownership of SPI1 and motor control while busy.
     * Idle diagnostics must not interleave a sensor transaction with capture. */
    if (AppEngine_IsBusy())
    {
        osDelay(200);
        continue;
    }

    MA600_Sample_t idleSample;
    MA600_Result_t idleReadResult = MA600_AcquireSample(&idleAcquisition,
        32768, 3U, &idleSample);
    if (idleReadResult != MA600_RESULT_OK)
    {
        char line[96];
        int len = snprintf(line, sizeof(line),
            "MA600 idle acquisition failed result=%d attempts=%u flags=0x%02X\r\n",
            (int)idleReadResult, (unsigned)idleSample.attempts, (unsigned)idleSample.flags);
        if (len >= (int)sizeof(line)) len = (int)sizeof(line) - 1;
        HAL_UART_Transmit(&huart3, (uint8_t *)line, (uint16_t)len, 50);
        osDelay(200);
        continue;
    }
    uint16_t raw = idleSample.raw;
    /* Printed as fixed-point (hundredths), not %f: this project links
     * --specs=nano.specs (newlib-nano), which strips floating-point support
     * out of printf/snprintf by default, so "%f"/"%.2f" would not print
     * correctly here without also adding "-u _printf_float" to the linker
     * flags. Avoiding float format specifiers sidesteps that entirely. */
    uint32_t angleHundredths = (uint32_t)(MA600_RawToDegrees(raw) * 100.0f + 0.5f);
    MA600_Status_t status = {0};
    bool statusValid = MA600_ReadStatus(&status);

    /* Printed only on an actual fault flag, not every ~200ms loop iteration -- the
     * unconditional version flooded the log (thousands of identical lines per
     * multi-minute batch cooldown) while the "MA600 noise" summary below already
     * covers the normal-operation angle/SPI-alive check far more compactly. These
     * status bits are the only place hardware faults (CRC/memory/parity errors,
     * NVM busy) surface at all, so still log them -- just only when non-zero. */
    if (!statusValid || status.nvmBusy || status.errCrc || status.errMem || status.errPar)
    {
        char line[128];
        int len = snprintf(line, sizeof(line),
            "MA600 raw=%u angle=%lu.%02lu deg StatusValid=%d NVMB=%d ERRCRC=%d ERRMEM=%d ERRPAR=%d\r\n",
            raw, (unsigned long)(angleHundredths / 100), (unsigned long)(angleHundredths % 100),
            statusValid ? 1 : 0,
            status.nvmBusy, status.errCrc, status.errMem, status.errPar);
        if (len >= (int)sizeof(line)) len = (int)sizeof(line) - 1;
        HAL_UART_Transmit(&huart3, (uint8_t *)line, (uint16_t)len, 50);
    }

    /* Noise self-test: the MA600A has no field-strength diagnostic register
     * (confirmed against the datasheet's STATUS register bits), so there is
     * no way to read "field too weak/strong" over SPI. As an indirect proxy
     * when a gaussmeter isn't available, track the raw-angle spread over a
     * rolling window -- while the shaft is held still, a wider-than-expected
     * spread (baseline observed so far: ~0.04 deg with the current mounting)
     * suggests the field at the die is marginal (air gap too large, magnet
     * too weak, etc.), since noise is what the datasheet's "Resolution vs.
     * Magnetic Field" curve degrades on as field strength drops.
     *
     * Originally tracked plain min/max of the raw 0-65535 value, which blew up to a bogus
     * ~320 deg "range" whenever the shaft sat near the 0/65535 wrap point during the window --
     * seen for real on hardware, not just theoretical. Fixed by accumulating a *cumulative*
     * unwrapped position from signed steps between consecutive samples (delta from a single
     * fixed reference sample would only be safe if the shaft never drifted more than 180 deg
     * from it within the window, which isn't guaranteed). */
    static bool     noiseHaveReference = false;
    static uint16_t noiseLastRaw;
    static int32_t  noiseUnwrapped;             /* cumulative position, 0 = window's first sample. */
    static int32_t  noiseMinUnwrapped, noiseMaxUnwrapped;
    static int32_t  noiseMaxStepDelta;           /* largest |step| between consecutive samples. */
    static double   noiseSumUnwrapped, noiseSumUnwrappedSq;
    static uint32_t noiseCount;
    #define MA600_NOISE_WINDOW_SAMPLES 25 /* ~5s at the 200ms sample period above */
    #define NOISE_MAX_STEP_VALID_RAW  730  /* ~4 deg -- flags a gross single-sample jump, not a
                                             * noise-floor limit (baseline is ~0.04 deg). */
    #define NOISE_MAX_DRIFT_VALID_RAW 3641 /* ~20 deg net movement across the whole 5s window --
                                             * flags "shaft is drifting/being turned", not noise. */

    if (!noiseHaveReference)
    {
        noiseHaveReference = true;
        noiseLastRaw = raw;
        noiseUnwrapped = 0;
        noiseMinUnwrapped = noiseMaxUnwrapped = 0;
        noiseMaxStepDelta = 0;
        noiseSumUnwrapped = 0.0;
        noiseSumUnwrappedSq = 0.0;
        noiseCount = 0;
    }
    else
    {
        int32_t step = (int32_t)(int16_t)(raw - noiseLastRaw); /* unwraps through the 65535->0 wrap point */
        noiseLastRaw = raw;
        noiseUnwrapped += step;
        int32_t absStep = (step < 0) ? -step : step;
        if (absStep > noiseMaxStepDelta) noiseMaxStepDelta = absStep;
    }
    if (noiseUnwrapped < noiseMinUnwrapped) noiseMinUnwrapped = noiseUnwrapped;
    if (noiseUnwrapped > noiseMaxUnwrapped) noiseMaxUnwrapped = noiseUnwrapped;
    noiseSumUnwrapped += (double)noiseUnwrapped;
    noiseSumUnwrappedSq += (double)noiseUnwrapped * (double)noiseUnwrapped;
    noiseCount++;

    if (noiseCount >= MA600_NOISE_WINDOW_SAMPLES)
    {
        double meanUnwrapped = noiseSumUnwrapped / (double)noiseCount;
        double variance = noiseSumUnwrappedSq / (double)noiseCount - meanUnwrapped * meanUnwrapped;
        double stdDevRaw = (variance > 0.0) ? sqrt(variance) : 0.0;
        int32_t p2pRaw = noiseMaxUnwrapped - noiseMinUnwrapped;
        int32_t driftRaw = noiseUnwrapped; /* net unwrapped displacement by the window's last sample */
        bool valid = (noiseMaxStepDelta <= NOISE_MAX_STEP_VALID_RAW)
            && (driftRaw >= -NOISE_MAX_DRIFT_VALID_RAW && driftRaw <= NOISE_MAX_DRIFT_VALID_RAW);

        uint32_t p2pHundredths = (uint32_t)(MA600_RawToDegrees((uint16_t)p2pRaw) * 100.0f + 0.5f);
        uint32_t stdDevHundredths = (uint32_t)(MA600_RawToDegrees((uint16_t)(stdDevRaw + 0.5)) * 100.0f + 0.5f);
        uint32_t maxStepHundredths = (uint32_t)(MA600_RawToDegrees((uint16_t)noiseMaxStepDelta) * 100.0f + 0.5f);
        bool driftNegative = (driftRaw < 0);
        uint32_t driftAbsHundredths = (uint32_t)(MA600_RawToDegrees((uint16_t)(driftNegative ? -driftRaw : driftRaw)) * 100.0f + 0.5f);

        char noiseLine[128];
        int noiseLen = snprintf(noiseLine, sizeof(noiseLine),
            "MA600 noise (last %ds): P2P=%lu.%02ludeg StdDev=%lu.%02ludeg Drift=%s%lu.%02ludeg MaxStep=%lu.%02ludeg N=%lu valid=%d\r\n",
            (MA600_NOISE_WINDOW_SAMPLES * 200) / 1000,
            (unsigned long)(p2pHundredths / 100), (unsigned long)(p2pHundredths % 100),
            (unsigned long)(stdDevHundredths / 100), (unsigned long)(stdDevHundredths % 100),
            driftNegative ? "-" : "",
            (unsigned long)(driftAbsHundredths / 100), (unsigned long)(driftAbsHundredths % 100),
            (unsigned long)(maxStepHundredths / 100), (unsigned long)(maxStepHundredths % 100),
            (unsigned long)noiseCount, valid ? 1 : 0);
        HAL_UART_Transmit(&huart3, (uint8_t *)noiseLine, (uint16_t)noiseLen, 50);

        noiseHaveReference = false; /* next window picks a fresh first-sample reference */
    }

    osDelay(200);
  }
  /* USER CODE END 5 */
}

void HAL_TIM_PeriodElapsedCallback(TIM_HandleTypeDef *htim)
{
  if (htim->Instance == TIM14) {
    HAL_IncTick();
  }
}

void Error_Handler(void)
{
  /* USER CODE BEGIN Error_Handler_Debug */
  /* User can add his own implementation to report the HAL error return state */
  __disable_irq();
  /* IRQs are disabled here, so HAL_Delay()/osDelay() (which need the tick
   * interrupt) cannot be used -- a plain busy-wait is the only thing that
   * still works. This makes a HAL init failure (bad clock config, a
   * peripheral Init() call returning != HAL_OK, etc.) visible on LED_R
   * without needing a debugger or a working serial link. */
  while (1)
  {
    HAL_GPIO_TogglePin(LED_R_GPIO_Port, LED_R_Pin);
    for (volatile uint32_t i = 0; i < 500000; i++)
    {
    }
  }
  /* USER CODE END Error_Handler_Debug */
}

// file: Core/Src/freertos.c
/* USER CODE BEGIN Header */
/**
  ******************************************************************************
  * File Name          : freertos.c
  * Description        : Code for freertos applications
  ******************************************************************************
  * @attention
  *
  * Copyright (c) 2026 STMicroelectronics.
  * All rights reserved.
  *
  * This software is licensed under terms that can be found in the LICENSE file
  * in the root directory of this software component.
  * If no LICENSE file comes with this software, it is provided AS-IS.
  *
  ******************************************************************************
  */
/* USER CODE END Header */

#include "FreeRTOS.h"
#include "task.h"
#include "main.h"

/* USER CODE BEGIN Application */

void vApplicationStackOverflowHook(TaskHandle_t task, char *taskName)
{
  (void)task;
  (void)taskName;
  HAL_GPIO_WritePin(MOTOR_ENA_GPIO_Port, MOTOR_ENA_Pin, GPIO_PIN_RESET);
  Error_Handler();
}

void vApplicationMallocFailedHook(void)
{
  HAL_GPIO_WritePin(MOTOR_ENA_GPIO_Port, MOTOR_ENA_Pin, GPIO_PIN_RESET);
  Error_Handler();
}

/* USER CODE END Application */
